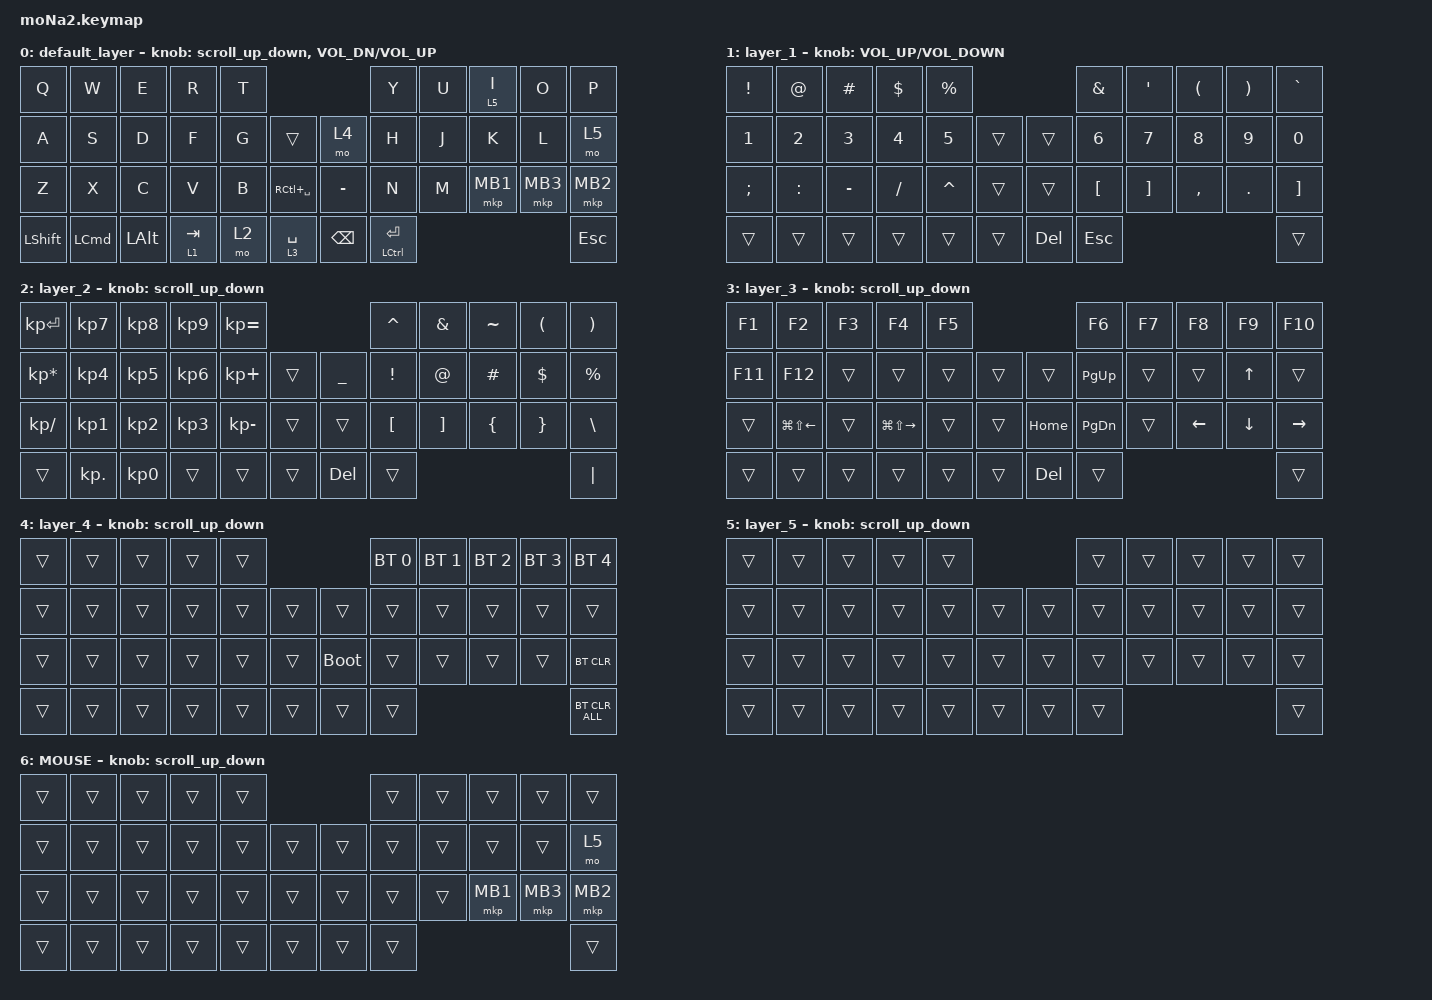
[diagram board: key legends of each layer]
#include <behaviors.dtsi>
#include <dt-bindings/zmk/bt.h>
#include <dt-bindings/zmk/keys.h>
#include <dt-bindings/zmk/pointing.h>

#define ZMK_POINTING_DEFAULT_SCRL_VAL 100
#define MOUSE 6

&mt {
    flavor = "balanced";
    quick-tap-ms = <0>;
};

/ {
    combos { compatible = "zmk,combos"; };

    behaviors {
        lt_to_layer_0: lt_to_layer_0 {
            compatible = "zmk,behavior-hold-tap";
            label = "LAYER_TAP_TO_0";
            bindings = <&mo>, <&to_layer_0>;

            #binding-cells = <2>;
            tapping-term-ms = <200>;
        };

        scroll_up_down: behavior_sensor_rotate_mouse_wheel_up_down {
            compatible = "zmk,behavior-sensor-rotate";
            #sensor-binding-cells = <0>;
            bindings = <&msc SCRL_UP>, <&msc SCRL_DOWN>;

            tap-ms = <20>;
        };
    };

    macros {
        to_layer_0: to_layer_0 {
            compatible = "zmk,behavior-macro-one-param";
            #binding-cells = <1>;
            bindings = <&to 0 &macro_param_1to1 &kp MACRO_PLACEHOLDER>;
            label = "TO_LAYER_0";
        };
    };

    keymap {
        compatible = "zmk,keymap";

        default_layer {
            bindings = <
&kp Q       &kp W             &kp E         &kp R      &kp T                                  &kp Y                   &kp U  &lt 5 I   &kp O     &kp P
&kp A       &kp S             &kp D         &kp F      &kp G  &trans           &mo 4          &kp H                   &kp J  &kp K     &kp L     &mo 5
&kp Z       &kp X             &kp C         &kp V      &kp B  &kp RC(SPACE)    &kp MINUS      &kp N                   &kp M  &mkp MB1  &mkp MB3  &mkp MB2
&kp LSHIFT  &kp LEFT_COMMAND  &kp LEFT_ALT  &lt 1 TAB  &mo 2  &lt 3 SPACE      &kp BACKSPACE  &mt LEFT_CONTROL ENTER                             &kp ESC
            >;

            sensor-bindings =
                <&scroll_up_down>,
                <&inc_dec_kp C_VOL_DN C_VOL_UP>;
        };

        layer_1 {
            bindings = <
&kp EXCLAMATION  &kp AT_SIGN   &kp HASH      &kp DOLLAR    &kp PERCENT                        &kp AMPERSAND     &kp SQT            &kp LEFT_PARENTHESIS  &kp RIGHT_PARENTHESIS  &kp GRAVE
&kp NUMBER_1     &kp NUMBER_2  &kp NUMBER_3  &kp NUMBER_4  &kp N5       &trans    &trans      &kp NUMBER_6      &kp N7             &kp N8                &kp N9                 &kp N0
&kp SEMICOLON    &kp COLON     &kp MINUS     &kp SLASH     &kp CARET    &trans    &trans      &kp LEFT_BRACKET  &kp RIGHT_BRACKET  &kp COMMA             &kp PERIOD             &kp RIGHT_BRACKET
&trans           &trans        &trans        &trans        &trans       &trans    &kp DELETE  &kp ESCAPE                                                                        &trans
            >;

            sensor-bindings = <&inc_dec_kp C_VOLUME_UP C_VOLUME_DOWN>;
        };

        layer_2 {
            bindings = <
&kp KP_ENTER     &kp KP_NUMBER_7  &kp KP_NUMBER_8  &kp KP_NUMBER_9  &kp KP_EQUAL                               &kp CARET         &kp AMPERSAND      &kp TILDE       &kp LEFT_PARENTHESIS  &kp RIGHT_PARENTHESIS
&kp KP_ASTERISK  &kp KP_NUMBER_4  &kp KP_NUMBER_5  &kp KP_NUMBER_6  &kp KP_PLUS      &trans    &kp UNDERSCORE  &kp EXCLAMATION   &kp AT_SIGN        &kp HASH        &kp DOLLAR            &kp PERCENT
&kp KP_DIVIDE    &kp KP_NUMBER_1  &kp KP_NUMBER_2  &kp KP_NUMBER_3  &kp KP_SUBTRACT  &trans    &trans          &kp LEFT_BRACKET  &kp RIGHT_BRACKET  &kp LEFT_BRACE  &kp RIGHT_BRACE       &kp BACKSLASH
&trans           &kp KP_DOT       &kp KP_NUMBER_0  &trans           &trans           &trans    &kp DEL         &trans                                                                     &kp PIPE
            >;

            sensor-bindings = <&scroll_up_down>;
        };

        layer_3 {
            bindings = <
&kp F1   &kp F2                  &kp F3  &kp F4                   &kp F5                      &kp F6         &kp F7  &kp F8          &kp F9          &kp F10
&kp F11  &kp F12                 &trans  &trans                   &trans  &trans    &trans    &kp PAGE_UP    &trans  &trans          &kp UP_ARROW    &trans
&trans   &kp LG(LS(LEFT_ARROW))  &trans  &kp LG(LS(RIGHT_ARROW))  &trans  &trans    &kp HOME  &kp PAGE_DOWN  &trans  &kp LEFT_ARROW  &kp DOWN_ARROW  &kp RIGHT_ARROW
&trans   &trans                  &trans  &trans                   &trans  &trans    &kp DEL   &trans                                                 &trans
            >;

            sensor-bindings = <&scroll_up_down>;
        };

        layer_4 {
            bindings = <
&trans  &trans  &trans  &trans  &trans                         &bt BT_SEL 0  &bt BT_SEL 1  &bt BT_SEL 2  &bt BT_SEL 3  &bt BT_SEL 4
&trans  &trans  &trans  &trans  &trans  &trans    &trans       &trans        &trans        &trans        &trans        &trans
&trans  &trans  &trans  &trans  &trans  &trans    &bootloader  &trans        &trans        &trans        &trans        &bt BT_CLR
&trans  &trans  &trans  &trans  &trans  &trans    &trans       &trans                                                  &bt BT_CLR_ALL
            >;

            sensor-bindings = <&scroll_up_down>;
        };

        layer_5 {
            bindings = <
&trans  &trans  &trans  &trans  &trans                    &trans  &trans  &trans  &trans  &trans
&trans  &trans  &trans  &trans  &trans  &trans    &trans  &trans  &trans  &trans  &trans  &trans
&trans  &trans  &trans  &trans  &trans  &trans    &trans  &trans  &trans  &trans  &trans  &trans
&trans  &trans  &trans  &trans  &trans  &trans    &trans  &trans                          &trans
            >;

            sensor-bindings = <&scroll_up_down>;
        };

        MOUSE {
            bindings = <
&trans  &trans  &trans  &trans  &trans                    &trans  &trans  &trans    &trans    &trans
&trans  &trans  &trans  &trans  &trans  &trans    &trans  &trans  &trans  &trans    &trans    &mo 5
&trans  &trans  &trans  &trans  &trans  &trans    &trans  &trans  &trans  &mkp MB1  &mkp MB3  &mkp MB2
&trans  &trans  &trans  &trans  &trans  &trans    &trans  &trans                              &trans
            >;

            sensor-bindings = <&scroll_up_down>;
        };
    };
};
